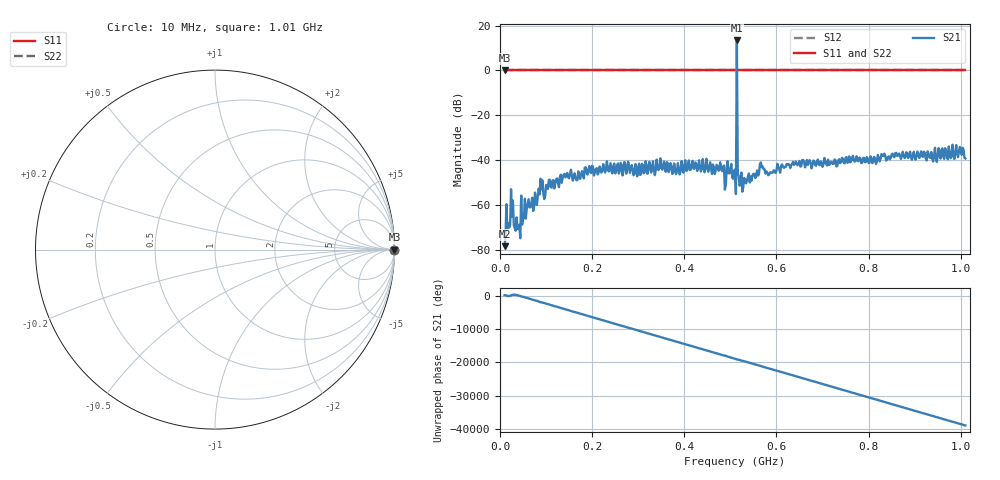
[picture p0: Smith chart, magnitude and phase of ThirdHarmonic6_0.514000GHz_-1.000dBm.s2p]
! 8/15/2025 3:43:46 PM
! C:\ANRITSUVNA\TEMP\TEMP.S2P
! CHANNEL.1
! TR.MEASUREMENT
! RAW.DATA
! RF.CORRECTION.OFF
! AVERAGING.OFF
! IF.BANDWIDTH: 5KHZ
! SWEEPTYPE:  FREQ.SWEEP(Linear)
! Reference Plane Port Info
! PORT:  PORT1  PORT2
! DISTANCE:  0  m  0  m
! TIME:  0  s  0  s
! PHASE.OFFSET:  0  deg.  0  deg.
! LOSS:  0  dB  0  dB
! REF.LOSS:  0  dB  0  dB
! REF.FREQ:  0  Hz  0  Hz
! Power Info
! POWER:  -20  dBm  -20  dBm
! EFF.POWER:  -20  dBm  -20  dBm
! SOURCE.ATTEN:  0  dB  0  dB
! TEST.ATTEN:  0  dB  0  dB
# GHZ S RI R 50.0
! FREQ.GHZ  S11RE  S11IM  S21RE  S21IM  S12RE  S12IM  S22RE  S22IM
!; PortSelection: Port_12
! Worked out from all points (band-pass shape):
!   501 points, 10 MHz to 1.01 GHz, reference 50 ohm
!   highest |S21| = 13.37 dB at 514 MHz (marker M1); lowest = -78.5 dB at 10 MHz (marker M2)
!   |S21| within 3 dB of the highest: 513.9125 MHz to 514.1011 MHz (188.6 kHz wide, 0.0367 % of centre)
!   lowest |S11| = 0.0 dB at 10 MHz (marker M3)
!   |S11| at or under -10 dB: nowhere
!   |S22| runs from 0.0 to 0.0 dB; largest |S21 - S12| = 4.5
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0.01  1 0  -6.17e-05 0.000101  1 0  1 0
0.024  1 0  0.0016 0.00154  1 0  1 0
0.04  1 0  0.000286 3.51e-05  1 0  1 0
0.05  1 0  0.0005 -6.22e-05  1 0  1 0
0.076  1 0  0.00182 0.00043  1 0  1 0
0.088  1 0  -0.00183 0.00335  1 0  1 0
0.178  1 0  -0.00545 -0.00131  1 0  1 0
0.344  1 0  0.00591 -0.000388  1 0  1 0
0.482  1 0  -0.0047 -0.00314  1 0  1 0
0.486  1 0  0.00479 0.0058  1 0  1 0
0.498  1 0  0.00161 -0.00476  1 0  1 0
0.508  1 0  -0.00209 -0.00537  1 0  1 0
0.51  1 0  -0.00477 0.00378  1 0  1 0
0.514  1 0  1.2 -4.506  1 0  1 0
0.518  1 0  -0.00433 -0.000392  1 0  1 0
0.52  1 0  -0.00211 0.00163  1 0  1 0
0.53  1 0  -0.00188 0.00349  1 0  1 0
0.568  1 0  0.0064 0.0025  1 0  1 0
0.586  1 0  0.00425 0.00311  1 0  1 0
0.678  1 0  0.00444 -0.00632  1 0  1 0
0.844  1 0  -0.00653 0.0102  1 0  1 0
1.01  1 0  0.00724 -0.00797  1 0  1 0
